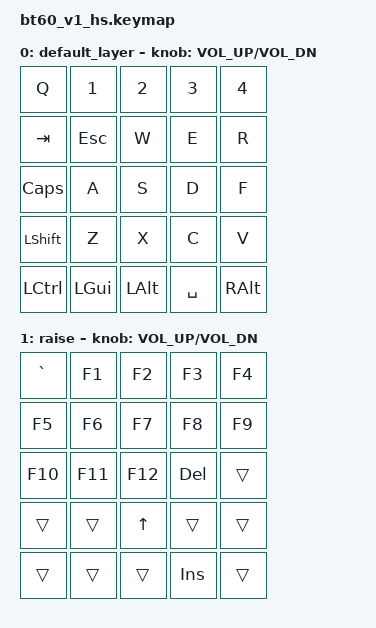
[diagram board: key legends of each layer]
#include <dt-bindings/zmk/matrix_transform.h>
#include <behaviors.dtsi>
#include <dt-bindings/zmk/keys.h>
#include <dt-bindings/zmk/bt.h>

/ {
    chosen {
        zmk,kscan = &kscan0;
    };

    default_transform: keymap_transform_0 {
        compatible = "zmk,matrix-transform";
        columns = <5>;
        rows = <5>;
        map = <
          0  1  2  3  4
            5  6  7  8  9
            10 11 12 13 14
            15 16 17 18 19
            20 21 22 23 24
        >;
    };

    kscan0: kscan_0 {
        compatible = "zmk,kscan-gpio-matrix";
        wakeup-source;
        diode-direction = "col2row";

        col-gpios
            = <&gpio0 17 GPIO_ACTIVE_HIGH>
            , <&gpio0 20 GPIO_ACTIVE_HIGH>
            , <&gpio0 22 GPIO_ACTIVE_HIGH>
            , <&gpio0 24 GPIO_ACTIVE_HIGH>
            , <&gpio1 0 GPIO_ACTIVE_HIGH>
            ;

        row-gpios
            = <&gpio1 13 (GPIO_ACTIVE_HIGH | GPIO_PULL_DOWN)>
            , <&gpio1 11 (GPIO_ACTIVE_HIGH | GPIO_PULL_DOWN)>
            , <&gpio0 10 (GPIO_ACTIVE_HIGH | GPIO_PULL_DOWN)>
            , <&gpio0 9 (GPIO_ACTIVE_HIGH | GPIO_PULL_DOWN)>  // 将 09 改为 9，避免八进制错误
            , <&gpio1 6 (GPIO_ACTIVE_HIGH | GPIO_PULL_DOWN)>   // 将 06 改为 6，避免八进制错误
            ;
    };

    keymap {
        compatible = "zmk,keymap";

        default_layer {
            bindings = <
                &kp Q    &kp N1  &kp N2  &kp N3  &kp N4 
                &kp TAB  &kp ESC &kp W   &kp E   &kp R 
                &kp CLCK &kp A   &kp S   &kp D   &kp F 
                &kp LSHFT &kp Z  &kp X   &kp C   &kp V  
                &kp LCTRL &kp LGUI &kp LALT &kp SPACE &kp RALT  
            >;
            sensor-bindings = <&inc_dec_kp C_VOL_UP C_VOL_DN>;
        };
        
        raise {
            bindings = <
                &kp GRAVE &kp F1 &kp F2 &kp F3 &kp F4
                &kp F5    &kp F6 &kp F7 &kp F8 &kp F9
                &kp F10   &kp F11 &kp F12 &kp DEL &trans
                &trans    &trans &kp UP &trans &trans
                &trans    &trans &trans &kp INS &trans
            >; // 减少到恰好 25 个绑定，适用于 5x5 矩阵
            sensor-bindings = <&inc_dec_kp C_VOL_UP C_VOL_DN>;
        };
    };
};
